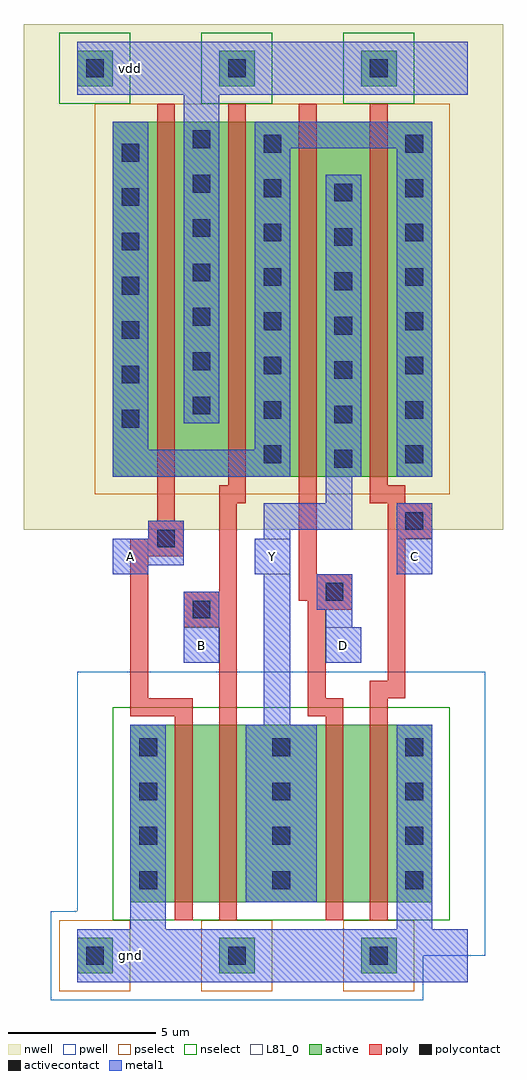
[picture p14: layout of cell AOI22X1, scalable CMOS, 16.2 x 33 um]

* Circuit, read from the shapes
.subckt AOI22X1 A B C D Y gnd vdd
M1 n1 A gnd gnd nfet w=6u l=0.6u
M2 Y B n1 gnd nfet w=6u l=0.6u
M3 n2 D Y gnd nfet w=6u l=0.6u
M4 gnd C n2 gnd nfet w=6u l=0.6u
M5 vdd A n3 vdd pfet w=12u l=0.6u
M6 n3 B vdd vdd pfet w=12u l=0.6u
M7 Y D n3 vdd pfet w=12u l=0.6u
M8 n3 C Y vdd pfet w=12u l=0.6u
.ends

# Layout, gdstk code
import gdstk
lib = gdstk.Library(unit=1e-6, precision=1e-09)
def R(c, l, rs):  # rectangles x0, y0, x1, y1
    for r in rs: c.add(gdstk.rectangle(r[:2], r[2:], *l))
def A(c, l, x, y, w, h, nx, ny, dx, dy):  # array of equal rectangles
    R(c, l, [(x+i*dx, y+j*dy, x+i*dx+w, y+j*dy+h) for i in range(nx) for j in range(ny)])
pwell = (41, 0)
nwell = (42, 0)
active = (43, 0)
pselect = (44, 0)
nselect = (45, 0)
poly = (46, 0)
polycontact = (47, 0)
activecontact = (48, 0)
metal1 = (49, 0)
L81_0 = (81, 0)

aoi22x1 = lib.new_cell('AOI22X1')
R(aoi22x1, pwell, [(-1.5,-1.5,11.1,0), (-1.5,0,13.2,1.5), (-0.6,1.5,13.2,9.6)])
R(aoi22x1, nwell, [(-2.4,14.4,13.8,31.5)])
A(aoi22x1, active, -0.6, -0.6, 1.2, 1.2, 3, 2, 4.8, 30)
R(aoi22x1, active, [(1.2,1.8,11.4,7.8), (0.6,16.2,11.4,28.2)])
A(aoi22x1, pselect, -1.2, -1.2, 2.4, 2.4, 3, 1, 4.8, 0)
R(aoi22x1, pselect, [(0,15.6,12,28.8)])
A(aoi22x1, nselect, -1.2, 28.8, 2.4, 2.4, 3, 1, 4.8, 0)
R(aoi22x1, nselect, [(0.6,1.2,12,8.4)])
R(aoi22x1, poly, [(2.7,1.2,3.3,8.1), (4.2,1.2,4.8,11.1), (7.8,1.2,8.4,8.1), (9.3,1.2,9.9,8.7), (1.2,8.1,3.3,8.7), (7.2,8.1,8.4,8.7), (1.2,8.7,1.8,13.5), (7.2,8.7,7.8,11.7), (9.3,8.7,10.5,9.3), (9.9,9.3,10.5,14.1), (3,11.1,4.8,12.3), (7.2,11.7,8.7,12), (6.9,12,8.7,12.9), (4.2,12.3,4.8,15.3), (6.9,12.9,7.5,28.8), (1.2,13.5,3,14.1), (1.8,14.1,3,14.7), (9.9,14.1,11.4,15.3), (2.1,14.7,2.7,28.8), (4.2,15.3,5.1,15.9), (9.3,15.3,10.5,15.9), (4.5,15.9,5.1,28.8), (9.3,15.9,9.9,28.8)])
R(aoi22x1, polycontact, [(3.3,11.4,3.9,12), (7.8,12,8.4,12.6), (2.1,13.8,2.7,14.4), (10.5,14.4,11.1,15)])
A(aoi22x1, activecontact, -0.3, -0.3, 0.6, 0.6, 3, 2, 4.8, 30)
A(aoi22x1, activecontact, 1.5, 2.25, 0.6, 0.6, 3, 4, 4.5, 1.5)
A(aoi22x1, activecontact, 8.1, 16.5, 0.6, 0.6, 1, 7, 0, 1.5)
A(aoi22x1, activecontact, 5.7, 16.65, 0.6, 0.6, 1, 8, 0, 1.5)
A(aoi22x1, activecontact, 10.5, 16.65, 0.6, 0.6, 1, 8, 0, 1.5)
A(aoi22x1, activecontact, 0.9, 17.85, 0.6, 0.6, 1, 7, 0, 1.5)
A(aoi22x1, activecontact, 3.3, 18.3, 0.6, 0.6, 1, 7, 0, 1.5)
R(aoi22x1, metal1, [(-0.6,-0.9,12.6,0.9), (1.2,0.9,2.4,7.8), (10.2,0.9,11.4,7.8), (5.1,1.8,7.5,7.8), (5.7,7.8,6.6,12.9), (3,9.9,4.2,12.3), (7.8,9.9,9,11.1), (7.8,11.1,8.7,11.7), (7.5,11.7,8.7,12.9), (0.6,12.9,1.8,13.2), (5.4,12.9,6.6,14.1), (10.2,12.9,11.4,15.3), (0.6,13.2,3,14.1), (1.8,14.1,3,14.7), (5.7,14.1,6.6,14.4), (5.7,14.4,8.7,15.3), (7.8,15.3,8.7,16.2), (0.6,16.2,6.6,17.1), (7.8,16.2,9,26.4), (10.2,16.2,11.4,27.3), (0.6,17.1,1.8,28.2), (5.4,17.1,6.6,27.3), (3,18,4.2,29.1), (5.4,27.3,11.4,28.2), (-0.6,29.1,12.6,30.9)])
A(aoi22x1, L81_0, 0.6, 12.9, 1.2, 1.2, 3, 1, 4.8, 0)
R(aoi22x1, L81_0, [(3,9.9,4.2,11.1), (7.8,9.9,9,11.1)])
aoi22x1.add(gdstk.Label('gnd', (1.2,0), layer=49, texttype=0))
aoi22x1.add(gdstk.Label('vdd', (1.2,30), layer=49, texttype=0))
aoi22x1.add(gdstk.Label('C', (10.8,13.5), layer=49, texttype=0))
aoi22x1.add(gdstk.Label('D', (8.4,10.5), layer=49, texttype=0))
aoi22x1.add(gdstk.Label('Y', (6,13.5), layer=49, texttype=0))
aoi22x1.add(gdstk.Label('A', (1.2,13.5), layer=49, texttype=0))
aoi22x1.add(gdstk.Label('B', (3.6,10.5), layer=49, texttype=0))

lib.write_gds('AOI22X1.gds')
